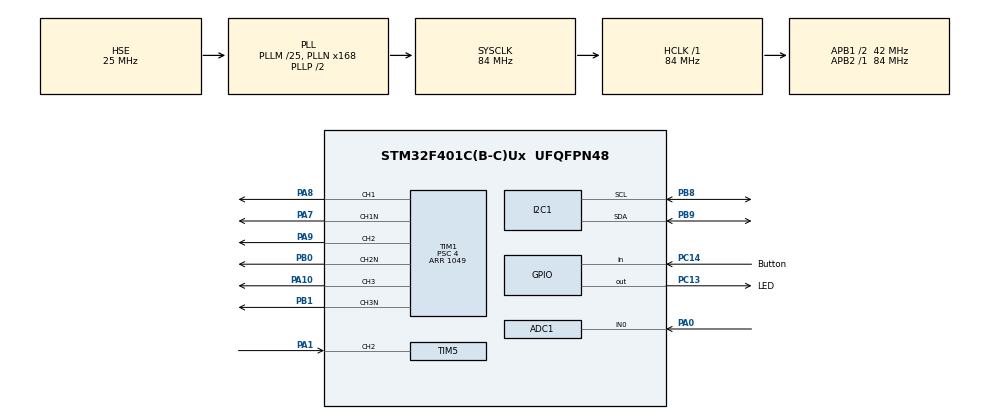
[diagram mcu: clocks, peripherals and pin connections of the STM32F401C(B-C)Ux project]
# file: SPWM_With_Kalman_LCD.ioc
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ADC1.Channel-0\#ChannelRegularConversion=ADC_CHANNEL_0
ADC1.NbrOfConversionFlag=1
ADC1.Rank-0\#ChannelRegularConversion=1
ADC1.SamplingTime-0\#ChannelRegularConversion=ADC_SAMPLETIME_56CYCLES
ADC1.master=1
Dma.ADC1.0.Direction=DMA_PERIPH_TO_MEMORY
Dma.ADC1.0.FIFOMode=DMA_FIFOMODE_DISABLE
Dma.ADC1.0.Instance=DMA2_Stream0
Dma.ADC1.0.MemDataAlignment=DMA_MDATAALIGN_HALFWORD
Dma.ADC1.0.MemInc=DMA_MINC_ENABLE
Dma.ADC1.0.Mode=DMA_CIRCULAR
Dma.ADC1.0.PeriphDataAlignment=DMA_PDATAALIGN_HALFWORD
Dma.ADC1.0.PeriphInc=DMA_PINC_DISABLE
Dma.ADC1.0.Priority=DMA_PRIORITY_LOW
Dma.Request0=ADC1
Mcu.Family=STM32F4
Mcu.Name=STM32F401C(B-C)Ux
Mcu.Package=UFQFPN48
NVIC.DMA2_Stream0_IRQn=true\:2\:0\:true\:false\:true\:false\:true\:true
NVIC.PriorityGroup=NVIC_PRIORITYGROUP_4
NVIC.TIM3_IRQn=true\:1\:0\:true\:false\:true\:true\:true\:true
PA0-WKUP.Signal=ADCx_IN0
PA1.Signal=S_TIM5_CH2
PA10.Signal=S_TIM1_CH3
PA13.Mode=Serial_Wire
PA13.Signal=SYS_JTMS-SWDIO
PA14.Mode=Serial_Wire
PA14.Signal=SYS_JTCK-SWCLK
PA7.Mode=PWM Generation1 CH1 CH1N
PA7.Signal=TIM1_CH1N
PA8.Signal=S_TIM1_CH1
PA9.Signal=S_TIM1_CH2
PB0.Mode=PWM Generation2 CH2 CH2N
PB0.Signal=TIM1_CH2N
PB1.Mode=PWM Generation3 CH3 CH3N
PB1.Signal=TIM1_CH3N
PB8.Mode=I2C
PB8.Signal=I2C1_SCL
PB9.Mode=I2C
PB9.Signal=I2C1_SDA
PC13-ANTI_TAMP.GPIO_Label=LED
PC13-ANTI_TAMP.Signal=GPIO_Output
PC14-OSC32_IN.GPIO_Label=Button
PC14-OSC32_IN.Signal=GPIO_Input
PH0\ -\ OSC_IN.Mode=HSE-External-Oscillator
PH0\ -\ OSC_IN.Signal=RCC_OSC_IN
PH1\ -\ OSC_OUT.Mode=HSE-External-Oscillator
PH1\ -\ OSC_OUT.Signal=RCC_OSC_OUT
ProjectManager.HeapSize=0x200
ProjectManager.StackSize=0x400
ProjectManager.TargetToolchain=STM32CubeIDE
RCC.48MHZClocksFreq_Value=42000000
RCC.AHBFreq_Value=84000000
RCC.APB1CLKDivider=RCC_HCLK_DIV2
RCC.APB1Freq_Value=42000000
RCC.APB1TimFreq_Value=84000000
RCC.APB2Freq_Value=84000000
RCC.APB2TimFreq_Value=84000000
RCC.CortexFreq_Value=84000000
RCC.HCLKFreq_Value=84000000
RCC.HSE_VALUE=25000000
RCC.HSI_VALUE=16000000
RCC.LSE_VALUE=32768
RCC.PLLM=25
RCC.PLLN=168
RCC.PLLSourceVirtual=RCC_PLLSOURCE_HSE
RCC.SYSCLKFreq_VALUE=84000000
RCC.SYSCLKSource=RCC_SYSCLKSOURCE_PLLCLK
RCC.VCOOutputFreq_Value=168000000
SH.ADCx_IN0.0=ADC1_IN0,IN0
SH.S_TIM1_CH1.0=TIM1_CH1,PWM Generation1 CH1 CH1N
SH.S_TIM1_CH2.0=TIM1_CH2,PWM Generation2 CH2 CH2N
SH.S_TIM1_CH3.0=TIM1_CH3,PWM Generation3 CH3 CH3N
SH.S_TIM5_CH2.0=TIM5_CH2,Input_Capture2_from_TI2
TIM1.AutoReloadPreload=TIM_AUTORELOAD_PRELOAD_ENABLE
TIM1.Channel-PWM\ Generation1\ CH1\ CH1N=TIM_CHANNEL_1
TIM1.Channel-PWM\ Generation2\ CH2\ CH2N=TIM_CHANNEL_2
TIM1.Channel-PWM\ Generation3\ CH3\ CH3N=TIM_CHANNEL_3
TIM1.ClockDivision=TIM_CLOCKDIVISION_DIV1
TIM1.CounterMode=TIM_COUNTERMODE_CENTERALIGNED1
TIM1.DeadTime=146
TIM1.Period=1049
TIM1.Prescaler=4
TIM3.AutoReloadPreload=TIM_AUTORELOAD_PRELOAD_ENABLE
TIM3.Period=2500
TIM3.Prescaler=83
TIM5.Channel-Input_Capture2_from_TI2=TIM_CHANNEL_2
VP_TIM1_VS_ClockSourceINT.Mode=Internal
VP_TIM3_VS_ClockSourceINT.Mode=Internal
VP_TIM5_VS_ClockSourceINT.Mode=Internal
board=custom

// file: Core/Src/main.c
/* USER CODE BEGIN Header */
/**
  ******************************************************************************
  * @file           : main.c
  * @brief          : Main program body
  ******************************************************************************
  * @attention
  *
  * Copyright (c) 2023 STMicroelectronics.
  * All rights reserved.
  *
  * This software is licensed under terms that can be found in the LICENSE file
  * in the root directory of this software component.
  * If no LICENSE file comes with this software, it is provided AS-IS.
  *
  ******************************************************************************
  */
/* USER CODE END Header */
#include "main.h"

/* USER CODE BEGIN Includes */
#include "table.h"
#include "kalman.h"
#include "lcd.h"
#include "string.h"
#include "stdio.h"
/* USER CODE END Includes */

ADC_HandleTypeDef hadc1;
DMA_HandleTypeDef hdma_adc1;

I2C_HandleTypeDef hi2c1;

TIM_HandleTypeDef htim1;
TIM_HandleTypeDef htim3;
TIM_HandleTypeDef htim5;

/* USER CODE BEGIN PV */
CLCD_I2C_Name LCD1;
uint32_t adc_val , adc ;
uint8_t fsine , old_fsine , i ;
float modulationC  , time , u , u_kalman;
volatile uint16_t count , arr_value;

/* USER CODE END PV */

void SystemClock_Config(void);
static void MX_GPIO_Init(void);
static void MX_DMA_Init(void);
static void MX_ADC1_Init(void);
static void MX_TIM1_Init(void);
static void MX_I2C1_Init(void);
static void MX_TIM3_Init(void);
static void MX_TIM5_Init(void);

/* USER CODE BEGIN 0 */
void HAL_TIM_PeriodElapsedCallback(TIM_HandleTypeDef *htim)
{
	UNUSED (htim);
	if ( htim -> Instance == htim3.Instance)
	{
		TIM1 -> CCR1 = round (A[count] * modulationC );
		TIM1 -> CCR2 = round (B[count] * modulationC );
		TIM1 -> CCR3 = round (C[count] * modulationC );

		if ( (count < 100) )
		{
			count++;
		}
		else {
			count = 0;
			HAL_GPIO_TogglePin(GPIOC, LED_Pin);
			TIM1->CCR1 = 0; TIM1->CCR2 = 0; TIM1->CCR3 = 0;
		}
	}
}

/* USER CODE END 0 */

int main(void)
{

  /* MCU Configuration--------------------------------------------------------*/

  /* Reset of all peripherals, Initializes the Flash interface and the Systick. */
  HAL_Init();

  /* Configure the system clock */
  SystemClock_Config();

  /* Initialize all configured peripherals */
  MX_GPIO_Init();
  MX_DMA_Init();
  MX_ADC1_Init();
  MX_TIM1_Init();
  MX_I2C1_Init();
  MX_TIM3_Init();
  MX_TIM5_Init();
  /* USER CODE BEGIN 2 */

  SimpleKalmanFilter(2,2,0.001f);
  HAL_TIM_PWM_Start(&htim1, TIM_CHANNEL_1);
  HAL_TIM_PWM_Start(&htim1, TIM_CHANNEL_2);
  HAL_TIM_PWM_Start(&htim1, TIM_CHANNEL_3);

  HAL_TIMEx_PWMN_Start(&htim1, TIM_CHANNEL_1);
  HAL_TIMEx_PWMN_Start(&htim1, TIM_CHANNEL_2);
  HAL_TIMEx_PWMN_Start(&htim1, TIM_CHANNEL_3);

  TIM1->CCR1 = 0; TIM1->CCR2 = 0; TIM1->CCR3 = 0;

  count = 0;
  arr_value = 2000;
  /* USER CODE END 2 */

  /* Infinite loop */
  while (1)
  {

    /* USER CODE BEGIN 3 */
		HAL_ADC_Start_DMA(&hadc1,&adc_val,1);
        u = adc_val;
		u_kalman = updateEstimate(u);
		u_kalman = updateEstimate(u_kalman);
		adc = u_kalman - 1100;
		fsine = adc / 35 ;
	    if ( count == 0) {
	    	 HAL_TIM_Base_Stop_IT(&htim3);
		 if ( fsine >= 5)
		 {
			  arr_value = 100000 / ( 10 * fsine) ;
		  	  TIM3 -> ARR =  arr_value;
		  	  modulationC = (4.4* fsine) / 220;
		  	  	  if (modulationC >= 1.05) modulationC = 1.05;
		 }
		 else  if ( fsine < 5)
		  {
		   	   modulationC = 0;
		  }
		 HAL_TIM_Base_Start_IT(&htim3);
	  }

}

  /* USER CODE END 3 */
}

void SystemClock_Config(void)
{
  RCC_OscInitTypeDef RCC_OscInitStruct = {0};
  RCC_ClkInitTypeDef RCC_ClkInitStruct = {0};

  /** Configure the main internal regulator output voltage
  */
  __HAL_RCC_PWR_CLK_ENABLE();
  __HAL_PWR_VOLTAGESCALING_CONFIG(PWR_REGULATOR_VOLTAGE_SCALE2);

  /** Initializes the RCC Oscillators according to the specified parameters
  * in the RCC_OscInitTypeDef structure.
  */
  RCC_OscInitStruct.OscillatorType = RCC_OSCILLATORTYPE_HSE;
  RCC_OscInitStruct.HSEState = RCC_HSE_ON;
  RCC_OscInitStruct.PLL.PLLState = RCC_PLL_ON;
  RCC_OscInitStruct.PLL.PLLSource = RCC_PLLSOURCE_HSE;
  RCC_OscInitStruct.PLL.PLLM = 25;
  RCC_OscInitStruct.PLL.PLLN = 168;
  RCC_OscInitStruct.PLL.PLLP = RCC_PLLP_DIV2;
  RCC_OscInitStruct.PLL.PLLQ = 4;
  if (HAL_RCC_OscConfig(&RCC_OscInitStruct) != HAL_OK)
  {
    Error_Handler();
  }

  /** Initializes the CPU, AHB and APB buses clocks
  */
  RCC_ClkInitStruct.ClockType = RCC_CLOCKTYPE_HCLK|RCC_CLOCKTYPE_SYSCLK
                              |RCC_CLOCKTYPE_PCLK1|RCC_CLOCKTYPE_PCLK2;
  RCC_ClkInitStruct.SYSCLKSource = RCC_SYSCLKSOURCE_PLLCLK;
  RCC_ClkInitStruct.AHBCLKDivider = RCC_SYSCLK_DIV1;
  RCC_ClkInitStruct.APB1CLKDivider = RCC_HCLK_DIV2;
  RCC_ClkInitStruct.APB2CLKDivider = RCC_HCLK_DIV1;

  if (HAL_RCC_ClockConfig(&RCC_ClkInitStruct, FLASH_LATENCY_2) != HAL_OK)
  {
    Error_Handler();
  }
}

static void MX_ADC1_Init(void)
{

  ADC_ChannelConfTypeDef sConfig = {0};

  /** Configure the global features of the ADC (Clock, Resolution, Data Alignment and number of conversion)
  */
  hadc1.Instance = ADC1;
  hadc1.Init.ClockPrescaler = ADC_CLOCK_SYNC_PCLK_DIV4;
  hadc1.Init.Resolution = ADC_RESOLUTION_12B;
  hadc1.Init.ScanConvMode = DISABLE;
  hadc1.Init.ContinuousConvMode = DISABLE;
  hadc1.Init.DiscontinuousConvMode = DISABLE;
  hadc1.Init.ExternalTrigConvEdge = ADC_EXTERNALTRIGCONVEDGE_NONE;
  hadc1.Init.ExternalTrigConv = ADC_SOFTWARE_START;
  hadc1.Init.DataAlign = ADC_DATAALIGN_RIGHT;
  hadc1.Init.NbrOfConversion = 1;
  hadc1.Init.DMAContinuousRequests = DISABLE;
  hadc1.Init.EOCSelection = ADC_EOC_SINGLE_CONV;
  if (HAL_ADC_Init(&hadc1) != HAL_OK)
  {
    Error_Handler();
  }

  /** Configure for the selected ADC regular channel its corresponding rank in the sequencer and its sample time.
  */
  sConfig.Channel = ADC_CHANNEL_0;
  sConfig.Rank = 1;
  sConfig.SamplingTime = ADC_SAMPLETIME_56CYCLES;
  if (HAL_ADC_ConfigChannel(&hadc1, &sConfig) != HAL_OK)
  {
    Error_Handler();
  }

}

static void MX_I2C1_Init(void)
{

  hi2c1.Instance = I2C1;
  hi2c1.Init.ClockSpeed = 100000;
  hi2c1.Init.DutyCycle = I2C_DUTYCYCLE_2;
  hi2c1.Init.OwnAddress1 = 0;
  hi2c1.Init.AddressingMode = I2C_ADDRESSINGMODE_7BIT;
  hi2c1.Init.DualAddressMode = I2C_DUALADDRESS_DISABLE;
  hi2c1.Init.OwnAddress2 = 0;
  hi2c1.Init.GeneralCallMode = I2C_GENERALCALL_DISABLE;
  hi2c1.Init.NoStretchMode = I2C_NOSTRETCH_DISABLE;
  if (HAL_I2C_Init(&hi2c1) != HAL_OK)
  {
    Error_Handler();
  }

}

static void MX_TIM1_Init(void)
{

  TIM_ClockConfigTypeDef sClockSourceConfig = {0};
  TIM_MasterConfigTypeDef sMasterConfig = {0};
  TIM_OC_InitTypeDef sConfigOC = {0};
  TIM_BreakDeadTimeConfigTypeDef sBreakDeadTimeConfig = {0};

  htim1.Instance = TIM1;
  htim1.Init.Prescaler = 4;
  htim1.Init.CounterMode = TIM_COUNTERMODE_CENTERALIGNED1;
  htim1.Init.Period = 1049;
  htim1.Init.ClockDivision = TIM_CLOCKDIVISION_DIV1;
  htim1.Init.RepetitionCounter = 0;
  htim1.Init.AutoReloadPreload = TIM_AUTORELOAD_PRELOAD_ENABLE;
  if (HAL_TIM_Base_Init(&htim1) != HAL_OK)
  {
    Error_Handler();
  }
  sClockSourceConfig.ClockSource = TIM_CLOCKSOURCE_INTERNAL;
  if (HAL_TIM_ConfigClockSource(&htim1, &sClockSourceConfig) != HAL_OK)
  {
    Error_Handler();
  }
  if (HAL_TIM_PWM_Init(&htim1) != HAL_OK)
  {
    Error_Handler();
  }
  sMasterConfig.MasterOutputTrigger = TIM_TRGO_RESET;
  sMasterConfig.MasterSlaveMode = TIM_MASTERSLAVEMODE_DISABLE;
  if (HAL_TIMEx_MasterConfigSynchronization(&htim1, &sMasterConfig) != HAL_OK)
  {
    Error_Handler();
  }
  sConfigOC.OCMode = TIM_OCMODE_PWM1;
  sConfigOC.Pulse = 0;
  sConfigOC.OCPolarity = TIM_OCPOLARITY_HIGH;
  sConfigOC.OCNPolarity = TIM_OCNPOLARITY_HIGH;
  sConfigOC.OCFastMode = TIM_OCFAST_DISABLE;
  sConfigOC.OCIdleState = TIM_OCIDLESTATE_RESET;
  sConfigOC.OCNIdleState = TIM_OCNIDLESTATE_RESET;
  if (HAL_TIM_PWM_ConfigChannel(&htim1, &sConfigOC, TIM_CHANNEL_1) != HAL_OK)
  {
    Error_Handler();
  }
  if (HAL_TIM_PWM_ConfigChannel(&htim1, &sConfigOC, TIM_CHANNEL_2) != HAL_OK)
  {
    Error_Handler();
  }
  if (HAL_TIM_PWM_ConfigChannel(&htim1, &sConfigOC, TIM_CHANNEL_3) != HAL_OK)
  {
    Error_Handler();
  }
  sBreakDeadTimeConfig.OffStateRunMode = TIM_OSSR_DISABLE;
  sBreakDeadTimeConfig.OffStateIDLEMode = TIM_OSSI_DISABLE;
  sBreakDeadTimeConfig.LockLevel = TIM_LOCKLEVEL_OFF;
  sBreakDeadTimeConfig.DeadTime = 146;
  sBreakDeadTimeConfig.BreakState = TIM_BREAK_DISABLE;
  sBreakDeadTimeConfig.BreakPolarity = TIM_BREAKPOLARITY_HIGH;
  sBreakDeadTimeConfig.AutomaticOutput = TIM_AUTOMATICOUTPUT_DISABLE;
  if (HAL_TIMEx_ConfigBreakDeadTime(&htim1, &sBreakDeadTimeConfig) != HAL_OK)
  {
    Error_Handler();
  }
  HAL_TIM_MspPostInit(&htim1);

}

static void MX_TIM3_Init(void)
{

  TIM_ClockConfigTypeDef sClockSourceConfig = {0};
  TIM_MasterConfigTypeDef sMasterConfig = {0};

  htim3.Instance = TIM3;
  htim3.Init.Prescaler = 83;
  htim3.Init.CounterMode = TIM_COUNTERMODE_UP;
  htim3.Init.Period = 2500;
  htim3.Init.ClockDivision = TIM_CLOCKDIVISION_DIV1;
  htim3.Init.AutoReloadPreload = TIM_AUTORELOAD_PRELOAD_ENABLE;
  if (HAL_TIM_Base_Init(&htim3) != HAL_OK)
  {
    Error_Handler();
  }
  sClockSourceConfig.ClockSource = TIM_CLOCKSOURCE_INTERNAL;
  if (HAL_TIM_ConfigClockSource(&htim3, &sClockSourceConfig) != HAL_OK)
  {
    Error_Handler();
  }
  sMasterConfig.MasterOutputTrigger = TIM_TRGO_RESET;
  sMasterConfig.MasterSlaveMode = TIM_MASTERSLAVEMODE_DISABLE;
  if (HAL_TIMEx_MasterConfigSynchronization(&htim3, &sMasterConfig) != HAL_OK)
  {
    Error_Handler();
  }

}

static void MX_TIM5_Init(void)
{

  TIM_ClockConfigTypeDef sClockSourceConfig = {0};
  TIM_MasterConfigTypeDef sMasterConfig = {0};
  TIM_IC_InitTypeDef sConfigIC = {0};

  htim5.Instance = TIM5;
  htim5.Init.Prescaler = 0;
  htim5.Init.CounterMode = TIM_COUNTERMODE_UP;
  htim5.Init.Period = 4294967295;
  htim5.Init.ClockDivision = TIM_CLOCKDIVISION_DIV1;
  htim5.Init.AutoReloadPreload = TIM_AUTORELOAD_PRELOAD_DISABLE;
  if (HAL_TIM_Base_Init(&htim5) != HAL_OK)
  {
    Error_Handler();
  }
  sClockSourceConfig.ClockSource = TIM_CLOCKSOURCE_INTERNAL;
  if (HAL_TIM_ConfigClockSource(&htim5, &sClockSourceConfig) != HAL_OK)
  {
    Error_Handler();
  }
  if (HAL_TIM_IC_Init(&htim5) != HAL_OK)
  {
    Error_Handler();
  }
  sMasterConfig.MasterOutputTrigger = TIM_TRGO_RESET;
  sMasterConfig.MasterSlaveMode = TIM_MASTERSLAVEMODE_DISABLE;
  if (HAL_TIMEx_MasterConfigSynchronization(&htim5, &sMasterConfig) != HAL_OK)
  {
    Error_Handler();
  }
  sConfigIC.ICPolarity = TIM_INPUTCHANNELPOLARITY_RISING;
  sConfigIC.ICSelection = TIM_ICSELECTION_DIRECTTI;
  sConfigIC.ICPrescaler = TIM_ICPSC_DIV1;
  sConfigIC.ICFilter = 0;
  if (HAL_TIM_IC_ConfigChannel(&htim5, &sConfigIC, TIM_CHANNEL_2) != HAL_OK)
  {
    Error_Handler();
  }

}

static void MX_DMA_Init(void)
{

  /* DMA controller clock enable */
  __HAL_RCC_DMA2_CLK_ENABLE();

  /* DMA interrupt init */
  /* DMA2_Stream0_IRQn interrupt configuration */
  HAL_NVIC_SetPriority(DMA2_Stream0_IRQn, 2, 0);
  HAL_NVIC_EnableIRQ(DMA2_Stream0_IRQn);

}

static void MX_GPIO_Init(void)
{
  GPIO_InitTypeDef GPIO_InitStruct = {0};

  /* GPIO Ports Clock Enable */
  __HAL_RCC_GPIOC_CLK_ENABLE();
  __HAL_RCC_GPIOH_CLK_ENABLE();
  __HAL_RCC_GPIOA_CLK_ENABLE();
  __HAL_RCC_GPIOB_CLK_ENABLE();

  /*Configure GPIO pin Output Level */
  HAL_GPIO_WritePin(LED_GPIO_Port, LED_Pin, GPIO_PIN_RESET);

  /*Configure GPIO pin : LED_Pin */
  GPIO_InitStruct.Pin = LED_Pin;
  GPIO_InitStruct.Mode = GPIO_MODE_OUTPUT_PP;
  GPIO_InitStruct.Pull = GPIO_NOPULL;
  GPIO_InitStruct.Speed = GPIO_SPEED_FREQ_LOW;
  HAL_GPIO_Init(LED_GPIO_Port, &GPIO_InitStruct);

  /*Configure GPIO pin : Button_Pin */
  GPIO_InitStruct.Pin = Button_Pin;
  GPIO_InitStruct.Mode = GPIO_MODE_INPUT;
  GPIO_InitStruct.Pull = GPIO_NOPULL;
  HAL_GPIO_Init(Button_GPIO_Port, &GPIO_InitStruct);

}

void Error_Handler(void)
{
  __disable_irq();
  while (1)
  {
  }
}
